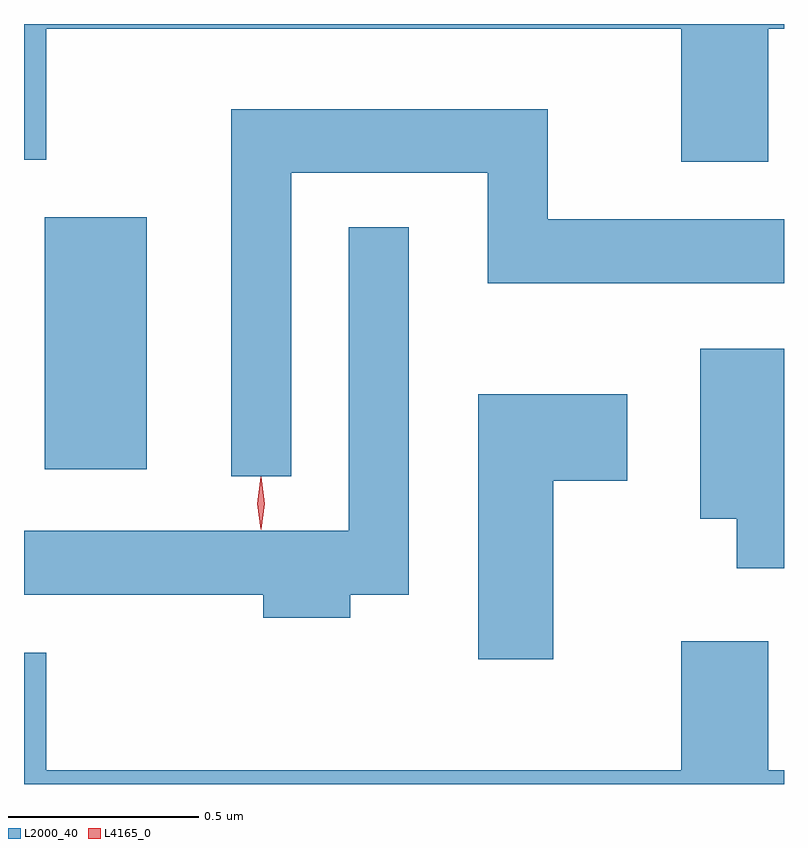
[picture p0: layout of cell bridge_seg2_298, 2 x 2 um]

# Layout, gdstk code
import gdstk
lib = gdstk.Library(unit=1e-6, precision=1e-09)
def R(c, l, rs):  # rectangles x0, y0, x1, y1
    for r in rs: c.add(gdstk.rectangle(r[:2], r[2:], *l))
def P(c, l, *ps):  # polygons
    for p in ps: c.add(gdstk.Polygon(p, *l))
L2000_40 = (2000, 40)
L4165_0 = (4165, 0)

bridge_seg2_298 = lib.new_cell('bridge_seg2_298')
R(bridge_seg2_298, L2000_40, [(554.556,1056.036,554.824,1056.699)])
P(bridge_seg2_298, L2000_40, [(556.459,1057.196),(556.501,1057.196),(556.501,1057.208),(554.501,1057.208),(554.501,1056.851),(554.559,1056.851),(554.559,1057.196),(556.231,1057.196),(556.231,1056.846),(556.459,1056.846)],
  [(555.204,1056.816),(555.721,1056.816),(555.721,1056.526),(556.501,1056.526),(556.501,1056.694),(555.879,1056.694),(555.879,1056.984),(555.046,1056.984),(555.046,1056.018),(555.204,1056.018)],
  [(555.359,1055.706),(555.514,1055.706),(555.514,1056.673),(555.356,1056.673),(555.356,1055.874),(554.501,1055.874),(554.501,1055.706),(555.131,1055.706),(555.131,1055.646),(555.359,1055.646)],
  [(556.501,1056.354),(556.281,1056.354),(556.281,1055.906),(556.376,1055.906),(556.376,1055.776),(556.501,1055.776)],
  [(555.894,1056.006),(556.089,1056.006),(556.089,1056.234),(555.696,1056.234),(555.696,1055.536),(555.894,1055.536)],
  [(556.501,1055.244),(556.459,1055.244),(556.459,1055.584),(556.231,1055.584),(556.231,1055.244),(554.559,1055.244),(554.559,1055.554),(554.501,1055.554),(554.501,1055.208),(556.501,1055.208)])
P(bridge_seg2_298, L4165_0, [(555.125,1055.879),(555.124,1055.88),(555.115,1055.946),(555.124,1056.012),(555.125,1056.013),(555.125,1056.012),(555.135,1055.946),(555.125,1055.88)],
  [(555.125,1055.877),(555.124,1055.878),(555.115,1055.946),(555.124,1056.016),(555.125,1056.016),(555.125,1056.016),(555.135,1055.946),(555.125,1055.878)])

lib.write_gds('bridge_seg2_298.gds')
